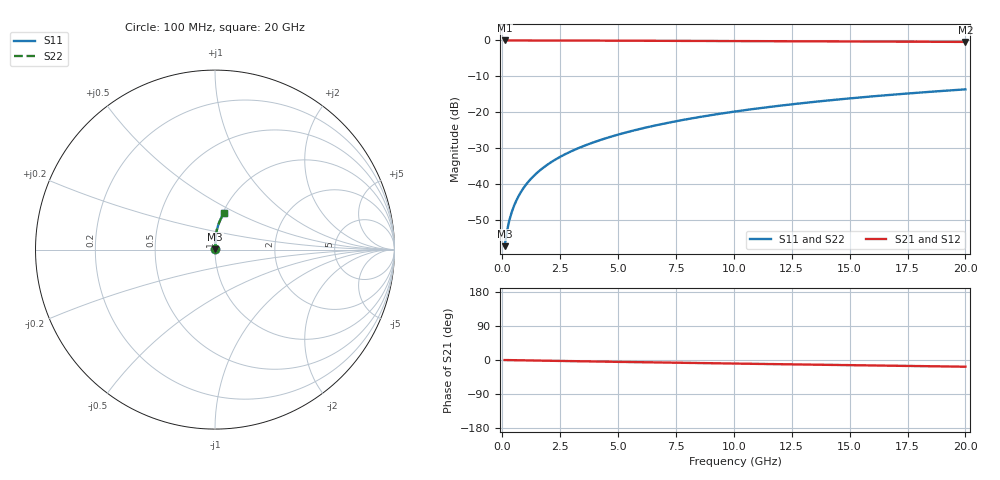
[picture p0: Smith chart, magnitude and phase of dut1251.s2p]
! Touchstone file exported from HFSS 2024.1.0
!  File:  C:/UserFiles/LocalFiles/RDL_TSV_Batchsim/temp_RDL_top_1251_1780241364.aedt
!  Generated:  11:31:57 PM May 31, 2026
!  Design:  RDL_top
!  Project:  temp_RDL_top_1251_1780241364
!  Setup:  Setup1
!  Solution:  Sweep
! Variables:
!  dtsv = 10.80580581um
!  hbump = 3um
!  htsv = 69.13um
!  ldown = 100um
!  lrdl = 202.3um
!  p = 40
!  p1 = 56.06um
!  rhole = 1um
!  t = 450um
!  tdown = 3.915915916um
!  trdl = 4.52um
!  wdown = 15.38538539um
!  wrdl = 20.21um
# GHz S MA R 50.000000
! Terminal data exported
! Port[1] = Box2_T1
! Port[2] = Box2_T2
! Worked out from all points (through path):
!   200 points, 100 MHz to 20 GHz, reference 50 ohm
!   highest |S21| = -0.01 dB at 100 MHz (marker M1); lowest = -0.4 dB at 20 GHz (marker M2)
!   group delay of S21, straight-line fit = 2.44 ps
!   lowest |S11| = -57.2 dB at 100 MHz (marker M3), VSWR 1.00, Z = 50.1 + j0.102 ohm
!   |S11| at or under -10 dB: start of sweep to end of sweep
!   |S22| runs from -57.2 to -13.6 dB; largest |S21 - S12| = 3.3e-15
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0.1  0.001385 47.1  0.9991 -0.1  0.9991 -0.1  0.001385 47.1
! Gamma 0 0 0 0
! Port Impedance 50 0 50 0
0.2  0.002228 63.8  0.999 -0.2  0.999 -0.2  0.002228 63.8
0.3  0.00313 71.0  0.9989 -0.3  0.9989 -0.3  0.00313 71.0
0.4  0.004048 75.0  0.9989 -0.4  0.9989 -0.4  0.004048 75.0
0.5  0.004974 77.7  0.9988 -0.5  0.9988 -0.5  0.004974 77.7
0.7  0.006847 80.9  0.9987 -0.7  0.9987 -0.7  0.006847 80.9
0.8  0.00779 82.0  0.9987 -0.8  0.9987 -0.8  0.00779 82.0
1  0.009686 83.5  0.9985 -1.0  0.9985 -1.0  0.009686 83.5
1.2  0.01159 84.6  0.9984 -1.2  0.9984 -1.2  0.01159 84.6
1.4  0.0135 85.3  0.9982 -1.4  0.9982 -1.4  0.0135 85.3
1.7  0.01639 86.1  0.9979 -1.7  0.9979 -1.7  0.01639 86.1
2  0.01928 86.6  0.9976 -2.0  0.9976 -2.0  0.01928 86.6
2.7  0.02609 87.4  0.9966 -2.7  0.9966 -2.7  0.02609 87.4
3.5  0.03399 87.8  0.9953 -3.5  0.9953 -3.5  0.03399 87.8
4.2  0.041 87.9  0.9939 -4.2  0.9939 -4.2  0.041 87.9
5  0.04914 87.9  0.9922 -4.9  0.9922 -4.9  0.04914 87.9
6.8  0.06791 87.3  0.988 -6.6  0.988 -6.6  0.06791 87.3
8.4  0.08501 86.4  0.9841 -8.0  0.9841 -8.0  0.08502 86.4
10.1  0.1034 85.2  0.9798 -9.5  0.9798 -9.5  0.1034 85.2
13.4  0.1393 82.3  0.9715 -12.3  0.9715 -12.3  0.1393 82.3
16.7  0.1746 79.3  0.9629 -15.0  0.9629 -15.0  0.1747 79.3
20  0.2091 76.3  0.9539 -17.7  0.9539 -17.7  0.2091 76.3
